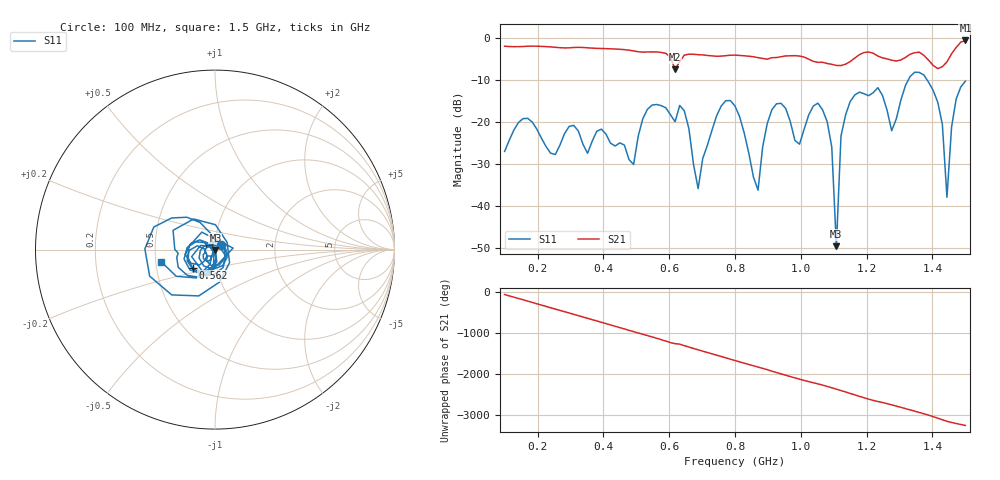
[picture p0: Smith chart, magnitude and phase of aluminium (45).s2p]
! NanoVNA-App
! Date: 2025-09-25 14:55:37
! Start: 100MHz Stop: 1,5GHz Points: 101
! S-Parameter data: F S11 S21 S12 S22
# Hz S RI R 50
!  Frequency  S11_Real  S11_Imag  S21_Real  S21_Imag  S12_Real  S12_Imag  S22_Real  S22_Imag
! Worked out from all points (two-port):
!   101 points, 100 MHz to 1.5 GHz, reference 50 ohm
!   highest |S21| = -0.54 dB at 1.5 GHz (marker M1); lowest = -7.4 dB at 618 MHz (marker M2)
!   |S21| within 3 dB of the highest: start of sweep to 585.3 MHz; 1.46 GHz to end of sweep (the widest 2 of 4)
!   lowest |S11| = -49.6 dB at 1.108 GHz (marker M3), VSWR 1.01, Z = 50.2 - j0.226 ohm
!   |S11| at or under -10 dB: start of sweep to 1.326 GHz; 1.384 GHz to end of sweep
!   S12 and S22 are empty: the file has one direction only
!   S11 on the Smith chart (normalised r, x): 100 MHz: 1.07, +0.06; 562 MHz: 0.76, -0.16; 1.5 GHz: 0.53, -0.08
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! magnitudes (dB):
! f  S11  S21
! 100 MHz  -27.0  -1.9
! 338 MHz  -25.3  -2.2
! 492 MHz  -30.1  -3.0
! 562 MHz  -15.8  -3.3
! 576 MHz  -16.1  -3.4
! 618 MHz  -19.9  -7.4
! 646 MHz  -17.3  -4.0
! 688 MHz  -35.9  -3.9
! 800 MHz  -16.2  -4.0
! 870 MHz  -36.2  -4.6
! 912 MHz  -17.1  -4.7
! 1.038 GHz  -16.2  -5.5
! 1.094 GHz  -25.9  -6.2
! 1.108 GHz  -49.6  -6.5
! 1.122 GHz  -23.4  -6.5
! 1.15 GHz  -15.1  -5.6
! 1.276 GHz  -22.1  -5.3
! 1.374 GHz  -8.8  -4.1
! 1.43 GHz  -20.6  -6.8
! 1.444 GHz  -37.9  -5.7
! 1.458 GHz  -21.2  -3.7
! 1.5 GHz  -10.2  -0.5
